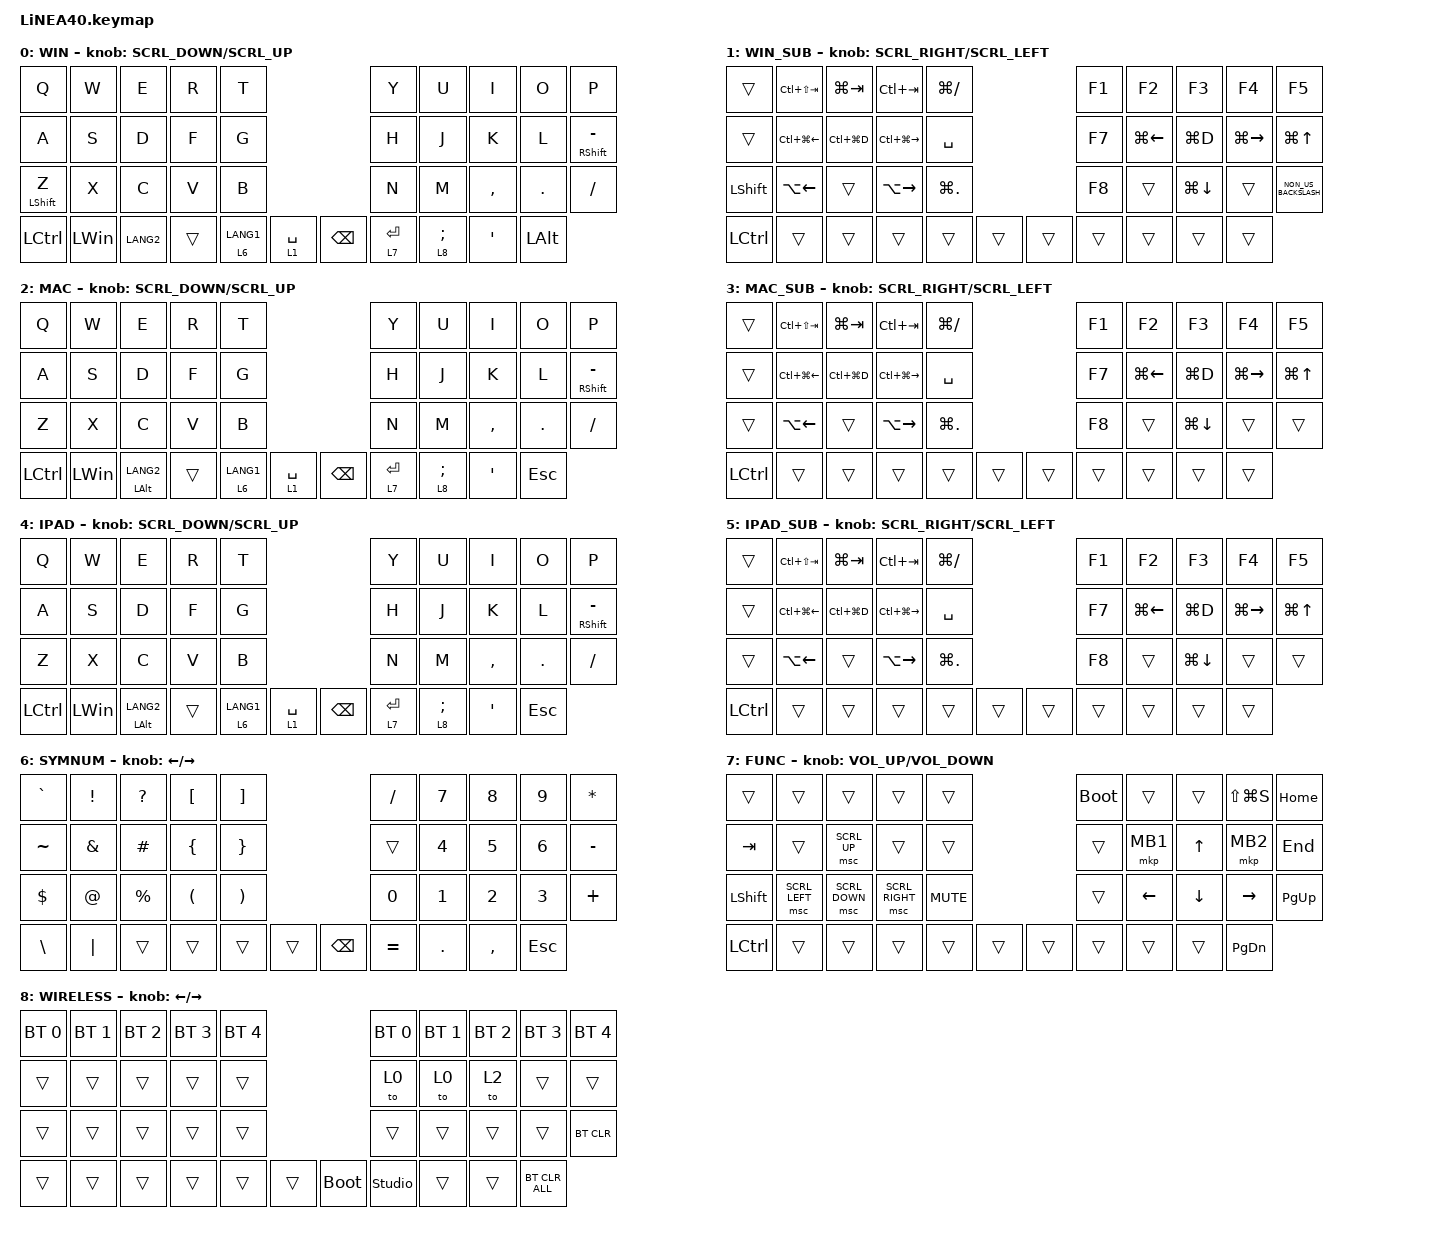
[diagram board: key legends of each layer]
#define ZMK_POINTING_DEFAULT_SCRL_VAL 150

#include <dt-bindings/zmk/input_transform.h>
#include <input/processors.dtsi>
#include <zephyr/dt-bindings/input/input-event-codes.h>
#include <behaviors.dtsi>
#include <dt-bindings/zmk/bt.h>
#include <dt-bindings/zmk/keys.h>
#include <dt-bindings/zmk/pointing.h>

#define WIN 0
#define WIN_SUB 1
#define MAC 2
#define MAC_SUB 3
#define IPAD 4
#define IPAD_SUB 5
#define SYMNUM 6
#define FUNC 7
#define WIRELESS 8

//mouse cursol

&mmv {
    delay-ms = <20>;
    trigger-period-ms = <5>;
    time-to-max-speed-ms = <100>;
    acceleration-exponent = <2>;
};

//mouse scroll

&msc {
    delay-ms = <3>;
    trigger-period-ms = <3>;
    time-to-max-speed-ms = <100>;
    acceleration-exponent = <0>;
};

/ {
    input_processors {
        zip_wheel_scaler: zip_wheel_scaler {
            compatible = "zmk,input-processor-scaler";
            #input-processor-cells = <2>;
            type = <INPUT_EV_REL>;
            codes = <INPUT_REL_WHEEL>;
            track-remainders;
        };
    };
};

&msc_input_listener {
    speed_up {
        layers = <FUNC>;
        input-processors = <&zip_wheel_scaler 3 1>; //スクロールを3倍速にする
    };
};

&trackball_listener {
    scroller {
        layers = <SYMNUM>;
        input-processors =
            <&zip_xy_transform INPUT_TRANSFORM_Y_INVERT>,
            //スクロール方向を逆転,,,,,,,,,,,,,,,,,,
            <&zip_xy_to_scroll_mapper>;
    };
};

/ {
    combos {
        compatible = "zmk,combos";

        DeleteKey {
            bindings = <&kp DEL>;
            key-positions = <7 8>;
        };

        InsertKey {
            bindings = <&kp INS>;
            key-positions = <6 7>;
        };

        LeftClick {
            bindings = <&mkp MB1>;
            key-positions = <17 16>;
        };

        RightClick {
            bindings = <&mkp MB2>;
            key-positions = <18 17>;
        };

        PrevClick {
            bindings = <&mkp MB4>;
            key-positions = <27 26>;
        };

        ClickNext {
            bindings = <&mkp MB5>;
            key-positions = <27 28>;
        };

        CenterClick {
            bindings = <&mkp MB3>;
            key-positions = <18 19>;
        };

        esc {
            bindings = <&kp ESCAPE>;
            key-positions = <35 36>;
        };

        tab {
            bindings = <&kp TAB>;
            key-positions = <11 12>;
        };
    };

    behaviors {
        re_kp: sensor_rotate_kp {
            compatible = "zmk,behavior-sensor-rotate-var";
            #sensor-binding-cells = <2>;
            bindings = <&kp>, <&kp>;
        };

        mouse_scrl: mouse_wheel_scrl {
            compatible = "zmk,behavior-sensor-rotate-var";
            #sensor-binding-cells = <2>;
            bindings = <&msc>, <&msc>;

            tap-ms = <20>;
        };
    };

    keymap {
        compatible = "zmk,keymap";

        WIN {
            bindings = <
&kp Q             &kp W         &kp E      &kp R   &kp T                                      &kp Y        &kp U  &kp I            &kp O             &kp P
&kp A             &kp S         &kp D      &kp F   &kp G                                      &kp H        &kp J  &kp K            &kp L             &mt RIGHT_SHIFT MINUS
&mt LEFT_SHIFT Z  &kp X         &kp C      &kp V   &kp B                                      &kp N        &kp M  &kp COMMA        &kp DOT           &kp SLASH
&kp LCTRL         &kp LEFT_WIN  &kp LANG2  &trans  &lt 6 LANG1  &lt 1 SPACE    &kp BACKSPACE  &lt 7 ENTER         &lt 8 SEMICOLON  &kp SINGLE_QUOTE  &kp LEFT_ALT
            >;

            sensor-bindings = <&mouse_scrl SCRL_DOWN SCRL_UP>;
        };

        WIN_SUB {
            bindings = <
&trans          &kp LC(LS(TAB))     &kp LG(TAB)    &kp LC(TAB)        &kp LG(SLASH)                     &kp F1  &kp F2        &kp F3        &kp F4         &kp F5
&trans          &kp LC(LG(LEFT))    &kp LC(LG(D))  &kp LC(LG(RIGHT))  &kp SPACE                         &kp F7  &kp LG(LEFT)  &kp LG(D)     &kp LG(RIGHT)  &kp LG(UP_ARROW)
&kp LEFT_SHIFT  &kp LA(LEFT_ARROW)  &trans         &kp LA(RIGHT)      &kp LG(PERIOD)                    &kp F8  &trans        &kp LG(DOWN)  &trans         &kp NON_US_BACKSLASH
&kp LCTRL       &trans              &trans         &trans             &trans          &trans    &trans  &trans                &trans        &trans         &trans
            >;

            sensor-bindings = <&mouse_scrl SCRL_RIGHT SCRL_LEFT>;
        };

        MAC {
            bindings = <
&kp Q      &kp W         &kp E               &kp R   &kp T                                      &kp Y        &kp U  &kp I            &kp O             &kp P
&kp A      &kp S         &kp D               &kp F   &kp G                                      &kp H        &kp J  &kp K            &kp L             &mt RIGHT_SHIFT MINUS
&kp Z      &kp X         &kp C               &kp V   &kp B                                      &kp N        &kp M  &kp COMMA        &kp DOT           &kp SLASH
&kp LCTRL  &kp LEFT_WIN  &mt LEFT_ALT LANG2  &trans  &lt 6 LANG1  &lt 1 SPACE    &kp BACKSPACE  &lt 7 ENTER         &lt 8 SEMICOLON  &kp SINGLE_QUOTE  &kp ESCAPE
            >;

            sensor-bindings = <&mouse_scrl SCRL_DOWN SCRL_UP>;
        };

        MAC_SUB {
            bindings = <
&trans     &kp LC(LS(TAB))     &kp LG(TAB)    &kp LC(TAB)        &kp LG(SLASH)                     &kp F1  &kp F2        &kp F3        &kp F4         &kp F5
&trans     &kp LC(LG(LEFT))    &kp LC(LG(D))  &kp LC(LG(RIGHT))  &kp SPACE                         &kp F7  &kp LG(LEFT)  &kp LG(D)     &kp LG(RIGHT)  &kp LG(UP_ARROW)
&trans     &kp LA(LEFT_ARROW)  &trans         &kp LA(RIGHT)      &kp LG(PERIOD)                    &kp F8  &trans        &kp LG(DOWN)  &trans         &trans
&kp LCTRL  &trans              &trans         &trans             &trans          &trans    &trans  &trans                &trans        &trans         &trans
            >;

            sensor-bindings = <&mouse_scrl SCRL_RIGHT SCRL_LEFT>;
        };

        IPAD {
            bindings = <
&kp Q      &kp W         &kp E               &kp R   &kp T                                      &kp Y        &kp U  &kp I            &kp O             &kp P
&kp A      &kp S         &kp D               &kp F   &kp G                                      &kp H        &kp J  &kp K            &kp L             &mt RIGHT_SHIFT MINUS
&kp Z      &kp X         &kp C               &kp V   &kp B                                      &kp N        &kp M  &kp COMMA        &kp DOT           &kp SLASH
&kp LCTRL  &kp LEFT_WIN  &mt LEFT_ALT LANG2  &trans  &lt 6 LANG1  &lt 1 SPACE    &kp BACKSPACE  &lt 7 ENTER         &lt 8 SEMICOLON  &kp SINGLE_QUOTE  &kp ESCAPE
            >;

            sensor-bindings = <&mouse_scrl SCRL_DOWN SCRL_UP>;
        };

        IPAD_SUB {
            bindings = <
&trans     &kp LC(LS(TAB))     &kp LG(TAB)    &kp LC(TAB)        &kp LG(SLASH)                     &kp F1  &kp F2        &kp F3        &kp F4         &kp F5
&trans     &kp LC(LG(LEFT))    &kp LC(LG(D))  &kp LC(LG(RIGHT))  &kp SPACE                         &kp F7  &kp LG(LEFT)  &kp LG(D)     &kp LG(RIGHT)  &kp LG(UP_ARROW)
&trans     &kp LA(LEFT_ARROW)  &trans         &kp LA(RIGHT)      &kp LG(PERIOD)                    &kp F8  &trans        &kp LG(DOWN)  &trans         &trans
&kp LCTRL  &trans              &trans         &trans             &trans          &trans    &trans  &trans                &trans        &trans         &trans
            >;

            sensor-bindings = <&mouse_scrl SCRL_RIGHT SCRL_LEFT>;
        };

        SYMNUM {
            bindings = <
&kp GRAVE      &kp EXCLAMATION  &kp QUESTION  &kp LEFT_BRACKET      &kp RIGHT_BRACKET                               &kp FSLH      &kp NUMBER_7  &kp NUMBER_8  &kp NUMBER_9  &kp ASTERISK
&kp TILDE      &kp AMPERSAND    &kp HASH      &kp LEFT_BRACE        &kp RIGHT_BRACE                                 &trans        &kp NUMBER_4  &kp NUMBER_5  &kp NUMBER_6  &kp MINUS
&kp DOLLAR     &kp AT_SIGN      &kp PERCENT   &kp LEFT_PARENTHESIS  &kp RIGHT_PARENTHESIS                           &kp NUMBER_0  &kp NUMBER_1  &kp NUMBER_2  &kp NUMBER_3  &kp PLUS
&kp BACKSLASH  &kp PIPE         &trans        &trans                &trans                 &trans    &kp BACKSPACE  &kp EQUAL                   &kp PERIOD    &kp COMMA     &kp ESCAPE
            >;

            sensor-bindings = <&inc_dec_kp LEFT_ARROW RIGHT_ARROW>;
        };

        FUNC {
            bindings = <
&trans          &trans          &trans          &trans           &trans                        &bootloader  &trans    &trans        &kp LS(LG(S))  &kp HOME
&kp TAB         &trans          &msc SCRL_UP    &trans           &trans                        &trans       &mkp MB1  &kp UP_ARROW  &mkp MB2       &kp END
&kp LEFT_SHIFT  &msc SCRL_LEFT  &msc SCRL_DOWN  &msc SCRL_RIGHT  &kp C_MUTE                    &trans       &kp LEFT  &kp DOWN      &kp RIGHT      &kp PAGE_UP
&kp LCTRL       &trans          &trans          &trans           &trans      &trans    &trans  &trans                 &trans        &trans         &kp PAGE_DOWN
            >;

            sensor-bindings = <&inc_dec_kp C_VOLUME_UP C_VOLUME_DOWN>;
        };

        WIRELESS {
            bindings = <
&bt BT_SEL 0  &bt BT_SEL 1  &bt BT_SEL 2  &bt BT_SEL 3  &bt BT_SEL 4                         &bt BT_SEL 0    &bt BT_SEL 1  &bt BT_SEL 2  &bt BT_SEL 3  &bt BT_SEL 4
&trans        &trans        &trans        &trans        &trans                               &to 0           &to 0         &to 2         &trans        &trans
&trans        &trans        &trans        &trans        &trans                               &trans          &trans        &trans        &trans        &bt BT_CLR
&trans        &trans        &trans        &trans        &trans        &trans    &bootloader  &studio_unlock                &trans        &trans        &bt BT_CLR_ALL
            >;

            sensor-bindings = <&inc_dec_kp LEFT_ARROW RIGHT_ARROW>;
        };
    };
};
